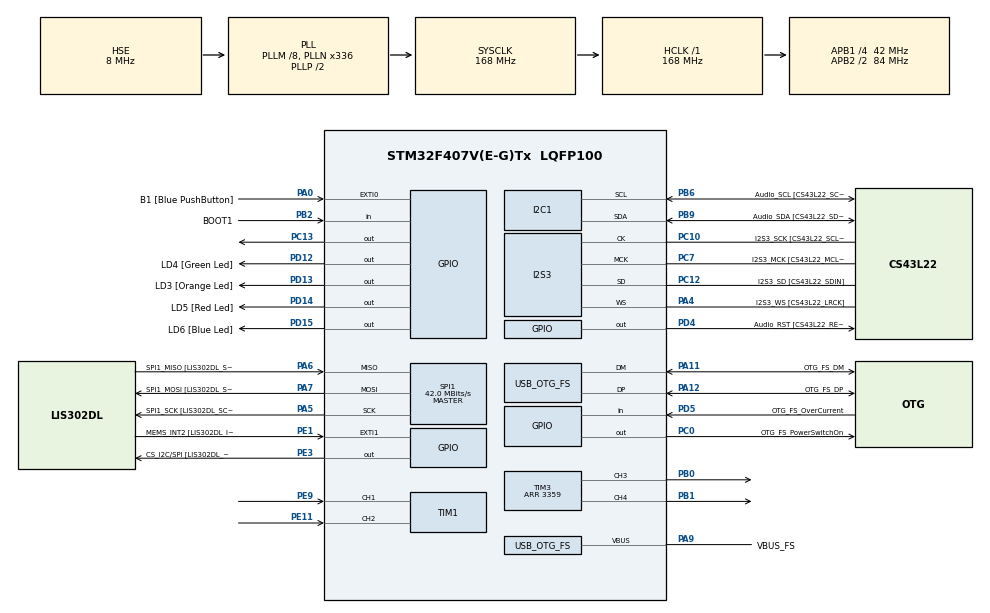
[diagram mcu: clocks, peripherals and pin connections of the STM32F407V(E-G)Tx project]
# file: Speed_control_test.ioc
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I2S3.AudioFreq-Half_Duplex_Master=I2S_AUDIOFREQ_96K
I2S3.ErrorAudioFreq=-2.34 %
I2S3.ErrorAudioFreq-Half_Duplex_Master=0.8 %
I2S3.FullDuplexMode=I2S_FULLDUPLEXMODE_DISABLE
I2S3.Instance=SPI$Index
I2S3.RealAudioFreq=93.75 KHz
I2S3.RealAudioFreq-Half_Duplex_Master=96.774 KHz
I2S3.VirtualMode=I2S_MODE_MASTER
Mcu.Family=STM32F4
Mcu.Name=STM32F407V(E-G)Tx
Mcu.Package=LQFP100
NVIC.OTG_FS_IRQn=true\:0\:0\:false\:false\:true\:true\:true
NVIC.PriorityGroup=NVIC_PRIORITYGROUP_0
NVIC.TIM6_DAC_IRQn=true\:0\:0\:false\:false\:true\:true\:true
PA0-WKUP.GPIO_Label=B1 [Blue PushButton]
PA0-WKUP.GPIO_ModeDefaultEXTI=GPIO_MODE_EVT_RISING
PA0-WKUP.GPIO_PuPd=GPIO_NOPULL
PA0-WKUP.Signal=GPXTI0
PA10.GPIO_Label=OTG_FS_ID
PA10.GPIO_Mode=GPIO_MODE_AF_PP
PA10.GPIO_PuPd=GPIO_NOPULL
PA10.GPIO_Speed=GPIO_SPEED_FREQ_LOW
PA10.Signal=USB_OTG_FS_ID
PA11.GPIO_Label=OTG_FS_DM
PA11.GPIO_Mode=GPIO_MODE_AF_PP
PA11.GPIO_PuPd=GPIO_NOPULL
PA11.GPIO_Speed=GPIO_SPEED_FREQ_LOW
PA11.Mode=Host_Only
PA11.Signal=USB_OTG_FS_DM
PA12.GPIO_Label=OTG_FS_DP
PA12.GPIO_Mode=GPIO_MODE_AF_PP
PA12.GPIO_PuPd=GPIO_NOPULL
PA12.GPIO_Speed=GPIO_SPEED_FREQ_LOW
PA12.Mode=Host_Only
PA12.Signal=USB_OTG_FS_DP
PA13.GPIO_Label=SWDIO
PA13.Mode=Serial_Wire
PA13.Signal=SYS_JTMS-SWDIO
PA14.GPIO_Label=SWCLK
PA14.Mode=Serial_Wire
PA14.Signal=SYS_JTCK-SWCLK
PA4.GPIO_Label=I2S3_WS [CS43L22_LRCK]
PA4.GPIO_Mode=GPIO_MODE_AF_PP
PA4.GPIO_PuPd=GPIO_NOPULL
PA4.GPIO_Speed=GPIO_SPEED_FREQ_LOW
PA4.Mode=Half_Duplex_Master
PA4.Signal=I2S3_WS
PA5.GPIO_Label=SPI1_SCK [LIS302DL_SCL/SPC]
PA5.GPIO_Mode=GPIO_MODE_AF_PP
PA5.GPIO_PuPd=GPIO_NOPULL
PA5.GPIO_Speed=GPIO_SPEED_FREQ_LOW
PA5.Mode=Full_Duplex_Master
PA5.Signal=SPI1_SCK
PA6.GPIO_Label=SPI1_MISO [LIS302DL_SDO]
PA6.GPIO_Mode=GPIO_MODE_AF_PP
PA6.GPIO_PuPd=GPIO_NOPULL
PA6.GPIO_Speed=GPIO_SPEED_FREQ_LOW
PA6.Mode=Full_Duplex_Master
PA6.Signal=SPI1_MISO
PA7.GPIO_Label=SPI1_MOSI [LIS302DL_SDA/SDI/SDO]
PA7.GPIO_Mode=GPIO_MODE_AF_PP
PA7.GPIO_PuPd=GPIO_NOPULL
PA7.GPIO_Speed=GPIO_SPEED_FREQ_LOW
PA7.Mode=Full_Duplex_Master
PA7.Signal=SPI1_MOSI
PA9.GPIO_Label=VBUS_FS
PA9.GPIO_Mode=GPIO_MODE_INPUT
PA9.GPIO_PuPd=GPIO_NOPULL
PA9.Mode=Activate_VBUS
PA9.Signal=USB_OTG_FS_VBUS
PB0.GPIO_PuPd=GPIO_NOPULL
PB0.Signal=S_TIM3_CH3
PB1.GPIO_PuPd=GPIO_NOPULL
PB1.Signal=S_TIM3_CH4
PB10.GPIO_Label=CLK_IN [MP45DT02_CLK]
PB10.GPIO_Mode=GPIO_MODE_AF_PP
PB10.GPIO_PuPd=GPIO_NOPULL
PB10.GPIO_Speed=GPIO_SPEED_FREQ_LOW
PB10.Signal=I2S2_CK
PB2.GPIO_Label=BOOT1
PB2.GPIO_Mode=GPIO_MODE_INPUT
PB2.GPIO_PuPd=GPIO_NOPULL
PB2.Signal=GPIO_Input
PB3.GPIO_Label=SWO
PB3.Signal=SYS_JTDO-SWO
PB6.GPIO_Label=Audio_SCL [CS43L22_SCL]
PB6.GPIO_Mode=GPIO_MODE_AF_OD
PB6.GPIO_PuPd=GPIO_NOPULL
PB6.GPIO_Speed=GPIO_SPEED_FREQ_LOW
PB6.Mode=I2C
PB6.Signal=I2C1_SCL
PB9.GPIO_Label=Audio_SDA [CS43L22_SDA]
PB9.GPIO_Mode=GPIO_MODE_AF_OD
PB9.GPIO_PuPd=GPIO_NOPULL
PB9.GPIO_Speed=GPIO_SPEED_FREQ_LOW
PB9.Mode=I2C
PB9.Signal=I2C1_SDA
PC0.GPIO_Label=OTG_FS_PowerSwitchOn
PC0.GPIO_PuPd=GPIO_NOPULL
PC0.GPIO_Speed=GPIO_SPEED_FREQ_LOW
PC0.PinState=GPIO_PIN_SET
PC0.Signal=GPIO_Output
PC10.GPIO_Label=I2S3_SCK [CS43L22_SCLK]
PC10.GPIO_Mode=GPIO_MODE_AF_PP
PC10.GPIO_PuPd=GPIO_NOPULL
PC10.GPIO_Speed=GPIO_SPEED_FREQ_LOW
PC10.Mode=Half_Duplex_Master
PC10.Signal=I2S3_CK
PC12.GPIO_Label=I2S3_SD [CS43L22_SDIN]
PC12.GPIO_Mode=GPIO_MODE_AF_PP
PC12.GPIO_PuPd=GPIO_NOPULL
PC12.GPIO_Speed=GPIO_SPEED_FREQ_LOW
PC12.Mode=Half_Duplex_Master
PC12.Signal=I2S3_SD
PC13-ANTI_TAMP.Signal=GPIO_Output
PC14-OSC32_IN.GPIO_Label=PC14-OSC32_IN
PC14-OSC32_IN.Mode=LSE-External-Oscillator
PC14-OSC32_IN.Signal=RCC_OSC32_IN
PC15-OSC32_OUT.GPIO_Label=PC15-OSC32_OUT
PC15-OSC32_OUT.Mode=LSE-External-Oscillator
PC15-OSC32_OUT.Signal=RCC_OSC32_OUT
PC3.GPIO_Label=PDM_OUT [MP45DT02_DOUT]
PC3.GPIO_Mode=GPIO_MODE_AF_PP
PC3.GPIO_PuPd=GPIO_NOPULL
PC3.GPIO_Speed=GPIO_SPEED_FREQ_LOW
PC3.Signal=I2S2_SD
PC7.GPIO_Label=I2S3_MCK [CS43L22_MCLK]
PC7.GPIO_Mode=GPIO_MODE_AF_PP
PC7.GPIO_PuPd=GPIO_NOPULL
PC7.GPIO_Speed=GPIO_SPEED_FREQ_LOW
PC7.Mode=Master_Clock_Activated
PC7.Signal=I2S3_MCK
PD12.GPIO_Label=LD4 [Green Led]
PD12.GPIO_PuPd=GPIO_NOPULL
PD12.GPIO_Speed=GPIO_SPEED_FREQ_LOW
PD12.Signal=GPIO_Output
PD13.GPIO_Label=LD3 [Orange Led]
PD13.GPIO_PuPd=GPIO_NOPULL
PD13.GPIO_Speed=GPIO_SPEED_FREQ_LOW
PD13.Signal=GPIO_Output
PD14.GPIO_Label=LD5 [Red Led]
PD14.GPIO_PuPd=GPIO_NOPULL
PD14.GPIO_Speed=GPIO_SPEED_FREQ_LOW
PD14.Signal=GPIO_Output
PD15.GPIO_Label=LD6 [Blue Led]
PD15.GPIO_PuPd=GPIO_NOPULL
PD15.GPIO_Speed=GPIO_SPEED_FREQ_LOW
PD15.Signal=GPIO_Output
PD4.GPIO_Label=Audio_RST [CS43L22_RESET]
PD4.GPIO_PuPd=GPIO_NOPULL
PD4.GPIO_Speed=GPIO_SPEED_FREQ_LOW
PD4.Signal=GPIO_Output
PD5.GPIO_Label=OTG_FS_OverCurrent
PD5.GPIO_Mode=GPIO_MODE_INPUT
PD5.GPIO_PuPd=GPIO_NOPULL
PD5.Signal=GPIO_Input
PE1.GPIO_Label=MEMS_INT2 [LIS302DL_INT2]
PE1.GPIO_ModeDefaultEXTI=GPIO_MODE_EVT_RISING
PE1.GPIO_PuPd=GPIO_NOPULL
PE1.Signal=GPXTI1
PE11.GPIO_PuPd=GPIO_NOPULL
PE11.Signal=S_TIM1_CH2
PE3.GPIO_Label=CS_I2C/SPI [LIS302DL_CS_I2C/SPI]
PE3.GPIO_PuPd=GPIO_NOPULL
PE3.GPIO_Speed=GPIO_SPEED_FREQ_LOW
PE3.Signal=GPIO_Output
PE9.GPIO_PuPd=GPIO_NOPULL
PE9.Signal=S_TIM1_CH1
PH0-OSC_IN.GPIO_Label=PH0-OSC_IN
PH0-OSC_IN.Mode=HSE-External-Oscillator
PH0-OSC_IN.Signal=RCC_OSC_IN
PH1-OSC_OUT.GPIO_Label=PH1-OSC_OUT
PH1-OSC_OUT.Mode=HSE-External-Oscillator
PH1-OSC_OUT.Signal=RCC_OSC_OUT
ProjectManager.HeapSize=0x200
ProjectManager.StackSize=0x400
ProjectManager.TargetToolchain=EWARM V8.32
RCC.48MHZClocksFreq_Value=48000000
RCC.AHBFreq_Value=168000000
RCC.APB1CLKDivider=RCC_HCLK_DIV4
RCC.APB1Freq_Value=42000000
RCC.APB1TimFreq_Value=84000000
RCC.APB2CLKDivider=RCC_HCLK_DIV2
RCC.APB2Freq_Value=84000000
RCC.APB2TimFreq_Value=168000000
RCC.CortexFreq_Value=168000000
RCC.HCLKFreq_Value=168000000
RCC.HSE_VALUE=8000000
RCC.HSI_VALUE=16000000
RCC.PLLM=8
RCC.PLLN=336
RCC.PLLQ=7
RCC.SYSCLKFreq_VALUE=168000000
RCC.SYSCLKSource=RCC_SYSCLKSOURCE_PLLCLK
RCC.VCOOutputFreq_Value=336000000
SH.S_TIM1_CH1.0=TIM1_CH1,Encoder_Interface
SH.S_TIM1_CH2.0=TIM1_CH2,Encoder_Interface
SH.S_TIM3_CH3.0=TIM3_CH3,PWM Generation3 CH3
SH.S_TIM3_CH4.0=TIM3_CH4,PWM Generation4 CH4
SPI1.BaudRatePrescaler=SPI_BAUDRATEPRESCALER_2
SPI1.BaudRatePrescaler-Full_Duplex_Master=SPI_BAUDRATEPRESCALER_2
SPI1.CalculateBaudRate=42.0 MBits/s
SPI1.CalculateBaudRate-Full_Duplex_Master=42.0 MBits/s
SPI1.Direction=SPI_DIRECTION_2LINES
SPI1.Mode=SPI_MODE_MASTER
SPI1.Mode-Full_Duplex_Master=SPI_MODE_MASTER
SPI1.VirtualType=VM_MASTER
TIM1.AutoReloadPreload=TIM_AUTORELOAD_PRELOAD_ENABLE
TIM1.EncoderMode=TIM_ENCODERMODE_TI12
TIM3.AutoReloadPreload=TIM_AUTORELOAD_PRELOAD_ENABLE
TIM3.Channel-PWM\ Generation3\ CH3=TIM_CHANNEL_3
TIM3.Channel-PWM\ Generation4\ CH4=TIM_CHANNEL_4
TIM3.Period=3359
TIM6.AutoReloadPreload=TIM_AUTORELOAD_PRELOAD_ENABLE
TIM6.Period=52499
TIM6.Prescaler=19
USB_OTG_FS.VirtualMode=Host_Only
USB_OTG_FS.phy_itface=HCD_PHY_EMBEDDED
VP_TIM6_VS_ClockSourceINT.Mode=Enable_Timer
board=STM32F407G-DISC1

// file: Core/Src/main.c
/* USER CODE BEGIN Header */
/**
  ******************************************************************************
  * @file           : main.c
  * @brief          : Main program body
  ******************************************************************************
  * @attention
  *
  * <h2><center>&copy; Copyright (c) 2021 STMicroelectronics.
  * All rights reserved.</center></h2>
  *
  * This software component is licensed by ST under BSD 3-Clause license,
  * the "License"; You may not use this file except in compliance with the
  * License. You may obtain a copy of the License at:
  *                        opensource.org/licenses/BSD-3-Clause
  *
  ******************************************************************************
  */
/* USER CODE END Header */
#include "main.h"
#include "i2c.h"
#include "i2s.h"
#include "spi.h"
#include "tim.h"
#include "usb_otg.h"
#include "gpio.h"

/* USER CODE BEGIN PD */
#define ENT_CNT_PER_REV 44

#define CNT_DIR_CW 1
#define CNT_DIR_CCW -1

#define ENC_DT 0.0125 // 12.5 ms (80 Hz)
#define ENC_DSTEP_MAX 30000
#define ENT_CNT_PER_REV 44 // JGA-370 Encoder 44 counts/rev
#define MOTOR_GEARRATIO (1/45.0f) // JGA-370 1:45 gearbox
#define CTRL_DT 0.0125

#define ABS(x)  ((x) > 0 ? (x) : -(x))

typedef enum
{
  DIR_REVERSE = -1,
  DIR_STOP = 0,
  DIR_FORWARD = 1
} Dir_1D_Enum;

// ENCODER
typedef struct
{
  uint16_t cnt_current;
  uint16_t cnt_prev;
  Dir_1D_Enum dir;
  int16_t dstep; // limit ENC_DSTEP_MAX < 30000 which (int16_t) = -32767 ~ 32767 so it could store dstep safely without overflow na ja!
  float w_speed;
} Encoder_Struct;

void calculate_encoder_data(Encoder_Struct *const e) //parse struct pointer into function
{
  if(e->cnt_current == e->cnt_prev) // motor stop
  {
    e->dstep = 0; // update dstep
    e->dir = DIR_STOP; // update dir
    e->w_speed = 0;
  }
  else // motor in running
  {
    if(ABS(e->cnt_prev - ENC_DSTEP_MAX) > ENC_DSTEP_MAX) // overflow case: |current-prev| e.g. rw: |65534-320| or fw: |4000-63200|
    {
      if(e->cnt_current > e->cnt_prev) //reverse
        e->dstep = -1*(e->cnt_prev + (65535 - e->cnt_current));
      else //forward
        e->dstep = (65535 - e->cnt_prev) + e->cnt_current;
    }
    else // general case
      e->dstep = e->cnt_current - e->cnt_prev;
    e->dir = (e->dstep > 0) ? DIR_FORWARD : DIR_REVERSE; // update dir
    e->cnt_prev = e->cnt_current; // update cnt_prev counter.
    e->w_speed = (float)e->dstep / ENC_DT * 60.0f / ENT_CNT_PER_REV * MOTOR_GEARRATIO;
  }
}

// MOTOR DRIVE
#define DRV_PWM_CCRMAX 3359
float duty_MIN = 14.2; // Joseph A. Experiment: motor stop after adjust pwm down from x % to 14.2%

typedef struct
{
  uint32_t volatile *const tim_pwm_fw; //store address of TIM3->CCR3 at initialize
  uint32_t volatile *const tim_pwm_rw; //store address of TIM3->CCR4 at initialize
  uint8_t enable;
  Dir_1D_Enum dir;
  float duty_prev;
  float pwm_ccr;
  float set_speed_prev;
} DRV_Struct;

void drv_set_dutycycle(float duty, DRV_Struct *const d)
{
  // d->dir = (duty > 0) ? DIR_FORWARD : (duty < 0) ? DIR_REVERSE : DIR_STOP;
  d->dir = (duty > duty_MIN) ? DIR_FORWARD : (duty < -duty_MIN) ? DIR_REVERSE : DIR_STOP; // Joseph A. Experiment: ABS(duty) > ABS(duty_min) = 14.2%//
  d->pwm_ccr = ABS(duty) * DRV_PWM_CCRMAX / 100.0f;
  switch (d->dir)
  {
  case DIR_FORWARD:
    *d->tim_pwm_fw = (uint32_t)d->pwm_ccr;
    *d->tim_pwm_rw = 0;
    break;
  case DIR_REVERSE:
    *d->tim_pwm_fw = 0;
    *d->tim_pwm_rw = (uint32_t)d->pwm_ccr;
    break;
  case DIR_STOP:
    *d->tim_pwm_fw = 0;
    *d->tim_pwm_rw = 0;
    break;
  }
}

// SPEED I CONTROLLER
//#define SPEED_KP 1
//#define SPEED_KI 1

typedef struct
{
  float kp; //assign as variable instead of #define as pre-compile for on-board adjusting purpose!
  float ki; //assign as variable instead of #define as pre-compile for on-board adjusting purpose!
  float cum_error_I;
  float err; //error
  float acceptable_err_band;
  float cum_error_I_MIN_BOUND; // max reverse I term (-xx.xxx)
  float cum_error_I_MAX_BOUND; // max forward I term (yy.yyyy)
} Controller_I_Struct;

void update_controller_I(Controller_I_Struct *const c, float Vd, float Vm, float *const Vc) //Vd = set value, Vm = feedback (measured value), Vc = value for controlling as input
{
  c->err = Vd - Vm;
  float cum_error_I_now = c->cum_error_I + (c->ki * c->err * CTRL_DT);
  if ((cum_error_I_now < c->cum_error_I_MIN_BOUND) || (cum_error_I_now > c->cum_error_I_MAX_BOUND)) //limit Imax term
    cum_error_I_now = c->cum_error_I;
  else
    c->cum_error_I = cum_error_I_now; //update I error

  if (ABS(c->err) >= c->acceptable_err_band) //acceptable error
    *Vc = c->err*c->kp + cum_error_I_now;
}

// PI CONTROL

typedef struct
{
  float kp; //assign as variable instead of #define as pre-compile for on-board adjusting purpose!
  float ki; //assign as variable instead of #define as pre-compile for on-board adjusting purpose!
  float e[2]; //e[0]=e(k-2), e[1]=e(k-1)
  float u[2]; //u[0]=u(k-1), u[1]=u(k)
  uint8_t flag_init;
  float acceptable_err_band;
  float cum_error_I_MIN_BOUND; // max reverse I term (-xx.xxx)
  float cum_error_I_MAX_BOUND; // max forward I term (yy.yyyy)
} Controller_PI_Struct;

void update_controller_PI(Controller_PI_Struct *const c, float Vd, float Vm, float *const Vc) //Vd = set value, Vm = feedback (measured value), Vc = value for controlling as input
{
  if (c->flag_init)
  {
    c->e[0] = Vd;
    c->e[1] = Vd;
    c->u[0] = 0;
    c->flag_init = 0;
  }
  c->u[1] = (c->ki+c->kp)*c->e[1] - c->kp*c->e[0] + c->u[0];
  if (ABS(c->e[1]) >= c->acceptable_err_band) //acceptable error
    *Vc = c->u[1];
  //prepare for next step
  c->e[0] = c->e[1];
  c->u[0] = c->u[1];
  c->e[1] = Vd - Vm;
}

float ctrlSpeed_to_dutyCycle(float Vc)
{
  //float duty = Vc/12*100;
  float duty = Vc/120*100;
  /*float duty = Vc;
  if (duty > 100)
    duty = 100;
  else if(duty < 100)
    duty = -100;*/
  return duty;
}

/* USER CODE END PD */

void SystemClock_Config(void);

/* USER CODE BEGIN 0 */
Encoder_Struct encoder1;
DRV_Struct drive1 = {&TIM3->CCR3, &TIM3->CCR4, 1, DIR_STOP, 0, 0};
//Controller_I_Struct controller1 = {1.0, 50, 0, 0, 0.1, -120.0, 120.0};
Controller_PI_Struct controller1 = {1.0,0.28,{0,0},{0,0},1,0,0,0};

void HAL_TIM_PeriodElapsedCallback(TIM_HandleTypeDef *htim)
{
    switch ((uint32_t)htim->Instance) {
    case (uint32_t)TIM6:
      {
        static float set_speed;
        static float control_speed;
        static float control_duty;
        // acquire data from encoder
        encoder1.cnt_current = TIM1->CNT; // update encoder current position
        calculate_encoder_data(&encoder1);
        // control the motor speed
        update_controller_PI(&controller1, set_speed, encoder1.w_speed, &control_speed); //update control_speed
        control_duty = ctrlSpeed_to_dutyCycle(control_speed);
        drv_set_dutycycle(control_duty, &drive1);
        break;
      } // TIM6
    }
}

/* USER CODE END 0 */

int main(void)
{

  /* MCU Configuration--------------------------------------------------------*/

  /* Reset of all peripherals, Initializes the Flash interface and the Systick. */
  HAL_Init();

  /* Configure the system clock */
  SystemClock_Config();

  /* Initialize all configured peripherals */
  MX_GPIO_Init();
  MX_I2C1_Init();
  MX_I2S3_Init();
  MX_SPI1_Init();
  MX_TIM1_Init();
  MX_TIM3_Init();
  MX_USB_OTG_FS_HCD_Init();
  MX_TIM6_Init();
  /* USER CODE BEGIN 2 */
  /*static uint16_t speed_sv = 0;
  static uint16_t speed_sv_prev = 0;
  static int8_t speed_dir;*/
  HAL_TIM_Encoder_Start(&htim1, TIM_CHANNEL_ALL);
  HAL_GPIO_WritePin(GPIOC, GPIO_PIN_13, GPIO_PIN_SET);
  HAL_TIM_PWM_Start(&htim3, TIM_CHANNEL_3);
  HAL_TIM_PWM_Start(&htim3, TIM_CHANNEL_4);
  HAL_TIM_Base_Start_IT(&htim6);
  /* USER CODE END 2 */

  /* Infinite loop */
  /* USER CODE BEGIN WHILE */
  while (1)
  {
    /*const uint32_t tick = HAL_GetTick();
    static uint32_t lastTick;
    if(tick - lastTick >= 10) // 20 ms (50 Hz)
    {

      lastTick = tick;
    }
*/
    /*
    if(speed_sv != speed_sv_prev)
    {
      if (speed_dir == 1)
      {
        TIM3->CCR3 = speed_sv;
        TIM3->CCR4 = 0;
      }
      if (speed_dir == -1)
      {
        TIM3->CCR4 = speed_sv;
        TIM3->CCR3 = 0;
      }
      speed_sv_prev = speed_sv;
    }*/
    /* USER CODE END WHILE */

  }
}

void SystemClock_Config(void)
{
  RCC_OscInitTypeDef RCC_OscInitStruct = {0};
  RCC_ClkInitTypeDef RCC_ClkInitStruct = {0};
  RCC_PeriphCLKInitTypeDef PeriphClkInitStruct = {0};

  /** Configure the main internal regulator output voltage
  */
  __HAL_RCC_PWR_CLK_ENABLE();
  __HAL_PWR_VOLTAGESCALING_CONFIG(PWR_REGULATOR_VOLTAGE_SCALE1);
  /** Initializes the RCC Oscillators according to the specified parameters
  * in the RCC_OscInitTypeDef structure.
  */
  RCC_OscInitStruct.OscillatorType = RCC_OSCILLATORTYPE_HSE;
  RCC_OscInitStruct.HSEState = RCC_HSE_ON;
  RCC_OscInitStruct.PLL.PLLState = RCC_PLL_ON;
  RCC_OscInitStruct.PLL.PLLSource = RCC_PLLSOURCE_HSE;
  RCC_OscInitStruct.PLL.PLLM = 8;
  RCC_OscInitStruct.PLL.PLLN = 336;
  RCC_OscInitStruct.PLL.PLLP = RCC_PLLP_DIV2;
  RCC_OscInitStruct.PLL.PLLQ = 7;
  if (HAL_RCC_OscConfig(&RCC_OscInitStruct) != HAL_OK)
  {
    Error_Handler();
  }
  /** Initializes the CPU, AHB and APB buses clocks
  */
  RCC_ClkInitStruct.ClockType = RCC_CLOCKTYPE_HCLK|RCC_CLOCKTYPE_SYSCLK
                              |RCC_CLOCKTYPE_PCLK1|RCC_CLOCKTYPE_PCLK2;
  RCC_ClkInitStruct.SYSCLKSource = RCC_SYSCLKSOURCE_PLLCLK;
  RCC_ClkInitStruct.AHBCLKDivider = RCC_SYSCLK_DIV1;
  RCC_ClkInitStruct.APB1CLKDivider = RCC_HCLK_DIV4;
  RCC_ClkInitStruct.APB2CLKDivider = RCC_HCLK_DIV2;

  if (HAL_RCC_ClockConfig(&RCC_ClkInitStruct, FLASH_LATENCY_5) != HAL_OK)
  {
    Error_Handler();
  }
  PeriphClkInitStruct.PeriphClockSelection = RCC_PERIPHCLK_I2S;
  PeriphClkInitStruct.PLLI2S.PLLI2SN = 192;
  PeriphClkInitStruct.PLLI2S.PLLI2SR = 2;
  if (HAL_RCCEx_PeriphCLKConfig(&PeriphClkInitStruct) != HAL_OK)
  {
    Error_Handler();
  }
}

void Error_Handler(void)
{
  __disable_irq();
  while (1)
  {
  }
}

/************************ (C) COPYRIGHT STMicroelectronics *****END OF FILE****/
